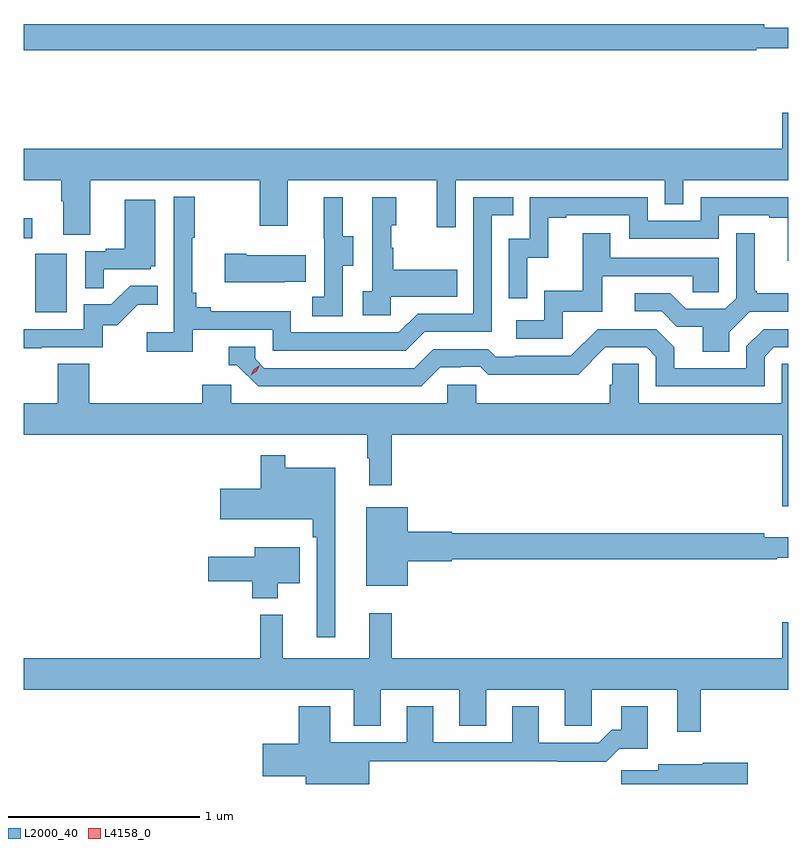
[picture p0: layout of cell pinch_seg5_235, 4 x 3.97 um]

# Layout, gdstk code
import gdstk
lib = gdstk.Library(unit=1e-6, precision=1e-09)
def R(c, l, rs):  # rectangles x0, y0, x1, y1
    for r in rs: c.add(gdstk.rectangle(r[:2], r[2:], *l))
def P(c, l, *ps):  # polygons
    for p in ps: c.add(gdstk.Polygon(p, *l))
L2000_40 = (2000, 40)
L4158_0 = (4158, 0)

pinch_seg5_235 = lib.new_cell('pinch_seg5_235')
R(pinch_seg5_235, L2000_40, [(964.298,904.02,964.462,904.327), (964.236,904.407,964.282,904.513)])
P(pinch_seg5_235, L2000_40, [(968.068,905.4),(968.236,905.4),(968.236,905.509),(968.108,905.509),(968.108,905.528),(964.236,905.528),(964.236,905.392),(968.068,905.392)],
  [(964.236,904.712),(964.433,904.712),(964.433,904.6),(964.445,904.6),(964.445,904.426),(964.585,904.426),(964.585,904.712),(965.47,904.712),(965.47,904.473),(965.617,904.473),(965.617,904.712),(966.398,904.712),(966.398,904.464),(966.495,904.464),(966.495,904.712),(967.59,904.712),(967.59,904.585),(967.686,904.585),(967.686,904.712),(968.236,904.712),(968.236,905.065),(968.204,905.065),(968.204,904.876),(964.236,904.876)],
  [(965.12,903.93),(965.538,903.93),(965.538,903.819),(966.235,903.819),(966.334,903.918),(966.684,903.918),(966.684,904.527),(966.797,904.527),(966.797,904.623),(966.588,904.623),(966.588,904.014),(966.297,904.014),(966.198,903.915),(965.634,903.915),(965.634,904.027),(965.215,904.027),(965.215,904.046),(965.138,904.046),(965.138,904.123),(965.119,904.123),(965.119,904.411),(965.131,904.411),(965.131,904.624),(965.022,904.624),(965.022,903.916),(964.881,903.916),(964.881,903.814),(965.12,903.814)],
  [(966.87,904.307),(966.98,904.307),(966.98,904.515),(967.075,904.515),(967.075,904.527),(967.404,904.527),(967.404,904.404),(967.872,904.404),(967.872,904.527),(968.135,904.527),(968.135,904.515),(968.231,904.515),(968.231,904.289),(968.236,904.289),(968.236,904.623),(967.776,904.623),(967.776,904.5),(967.5,904.5),(967.5,904.623),(966.882,904.623),(966.882,904.404),(966.774,904.404),(966.774,904.095),(966.87,904.095)],
  [(966.156,904.103),(966.503,904.103),(966.503,904.243),(966.169,904.243),(966.169,904.358),(966.159,904.358),(966.159,904.476),(966.184,904.476),(966.184,904.621),(966.06,904.621),(966.06,904.13),(966.009,904.13),(966.009,904.005),(966.156,904.005)],
  [(965.904,904.264),(965.959,904.264),(965.959,904.419),(965.905,904.419),(965.905,904.621),(965.807,904.621),(965.807,904.407),(965.808,904.407),(965.808,904.103),(965.745,904.103),(965.745,904),(965.904,904)],
  [(964.655,904.245),(964.902,904.245),(964.902,904.26),(964.924,904.26),(964.924,904.609),(964.766,904.609),(964.766,904.354),(964.667,904.354),(964.667,904.341),(964.56,904.341),(964.56,904.147),(964.655,904.147)],
  [(967.056,904.023),(967.261,904.023),(967.261,904.209),(967.735,904.209),(967.735,904.125),(967.872,904.125),(967.872,904.305),(967.303,904.305),(967.303,904.435),(967.159,904.435),(967.159,904.132),(966.96,904.132),(966.96,903.978),(966.813,903.978),(966.813,903.882),(967.056,903.882)],
  [(967.927,903.916),(968.034,904.023),(968.236,904.023),(968.236,904.12),(968.071,904.12),(968.071,904.132),(968.059,904.132),(968.059,904.435),(967.962,904.435),(967.962,904.095),(967.905,904.038),(967.699,904.038),(967.618,904.119),(967.431,904.119),(967.431,904.026),(967.572,904.026),(967.652,903.946),(967.787,903.946),(967.787,903.814),(967.927,903.814)],
  [(965.603,904.181),(965.711,904.181),(965.711,904.318),(965.401,904.318),(965.401,904.326),(965.289,904.326),(965.289,904.178),(965.603,904.178)],
  [(964.331,903.837),(964.65,903.837),(964.65,903.954),(964.726,903.954),(964.833,904.061),(964.937,904.061),(964.937,904.16),(964.793,904.16),(964.695,904.062),(964.551,904.062),(964.551,903.933),(964.236,903.933),(964.236,903.832),(964.331,903.832)],
  [(966.415,903.732),(966.522,903.732),(966.522,903.735),(966.625,903.735),(966.667,903.693),(966.9,903.693),(966.9,903.695),(967.136,903.695),(967.278,903.837),(967.494,903.837),(967.542,903.789),(967.542,903.633),(968.112,903.633),(968.112,903.789),(968.16,903.837),(968.236,903.837),(968.236,903.933),(968.106,903.933),(968.016,903.843),(968.016,903.729),(967.639,903.729),(967.639,903.839),(967.545,903.933),(967.239,903.933),(967.098,903.792),(966.805,903.792),(966.805,903.789),(966.706,903.789),(966.667,903.828),(966.378,903.828),(966.279,903.729),(965.496,903.729),(965.448,903.777),(965.448,903.84),(965.309,903.84),(965.309,903.744),(965.352,903.744),(965.463,903.633),(966.316,903.633)],
  [(968.236,903.752),(968.202,903.752),(968.202,903.544),(967.452,903.544),(967.452,903.752),(967.315,903.752),(967.315,903.642),(967.301,903.642),(967.301,903.544),(966.603,903.544),(966.603,903.642),(966.453,903.642),(966.453,903.544),(965.322,903.544),(965.322,903.642),(965.171,903.642),(965.171,903.544),(964.58,903.544),(964.58,903.752),(964.415,903.752),(964.415,903.544),(964.236,903.544),(964.236,903.38),(966.033,903.38),(966.033,903.257),(966.044,903.257),(966.044,903.117),(966.161,903.117),(966.161,903.38),(968.204,903.38),(968.204,903.006),(968.236,903.006)],
  [(965.866,903.208),(965.605,903.208),(965.605,903.274),(965.476,903.274),(965.476,903.097),(965.265,903.097),(965.265,902.939),(965.749,902.939),(965.749,902.843),(965.769,902.843),(965.769,902.322),(965.866,902.322)],
  [(966.244,902.72),(966.474,902.72),(966.474,902.728),(968.174,902.728),(968.174,902.736),(968.236,902.736),(968.236,902.845),(968.108,902.845),(968.108,902.864),(966.474,902.864),(966.474,902.872),(966.244,902.872),(966.244,903.001),(966.029,903.001),(966.029,902.591),(966.244,902.591)],
  [(965.566,902.603),(965.68,902.603),(965.68,902.791),(965.444,902.791),(965.444,902.743),(965.202,902.743),(965.202,902.614),(965.432,902.614),(965.432,902.525),(965.566,902.525)],
  [(967.777,902.048),(968.236,902.048),(968.236,902.401),(968.204,902.401),(968.204,902.212),(966.161,902.212),(966.161,902.446),(966.044,902.446),(966.044,902.212),(965.591,902.212),(965.591,902.44),(965.473,902.44),(965.473,902.212),(964.236,902.212),(964.236,902.048),(965.963,902.048),(965.963,901.858),(966.103,901.858),(966.103,902.048),(966.515,902.048),(966.515,901.858),(966.655,901.858),(966.655,902.048),(967.067,902.048),(967.067,901.858),(967.206,901.858),(967.206,902.048),(967.655,902.048),(967.655,901.827),(967.777,901.827)],
  [(966.043,901.672),(967.027,901.672),(967.027,901.67),(967.283,901.67),(967.352,901.739),(967.501,901.739),(967.501,901.96),(967.361,901.96),(967.361,901.837),(967.312,901.837),(967.245,901.77),(966.931,901.77),(966.931,901.96),(966.791,901.96),(966.791,901.773),(966.379,901.773),(966.379,901.96),(966.239,901.96),(966.239,901.773),(965.839,901.773),(965.839,901.96),(965.675,901.96),(965.675,901.765),(965.487,901.765),(965.487,901.595),(965.711,901.595),(965.711,901.554),(966.043,901.554)],
  [(968.023,901.665),(967.788,901.665),(967.788,901.657),(967.556,901.657),(967.556,901.625),(967.362,901.625),(967.362,901.554),(968.023,901.554)])
P(pinch_seg5_235, L4158_0, [(965.424,903.691),(965.424,903.691),(965.44,903.724),(965.471,903.744),(965.471,903.744),(965.471,903.744),(965.455,903.711),(965.424,903.691)])

lib.write_gds('pinch_seg5_235.gds')
